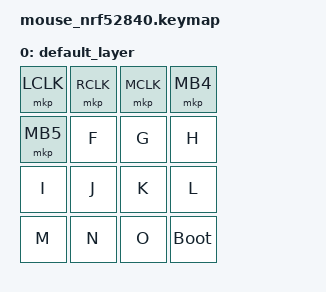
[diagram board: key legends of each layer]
#include <behaviors.dtsi>
#include <dt-bindings/zmk/keys.h>
#include <dt-bindings/zmk/pointing.h>

/ {
    keymap {
        compatible = "zmk,keymap";

        default_layer {
            bindings = <
                &mkp LCLK  &mkp RCLK  &mkp MCLK  &mkp MB4
                &mkp MB5   &kp F      &kp G      &kp H
                &kp I      &kp J      &kp K      &kp L
                &kp M      &kp N      &kp O      &bootloader
            >;
        };
    };
};
